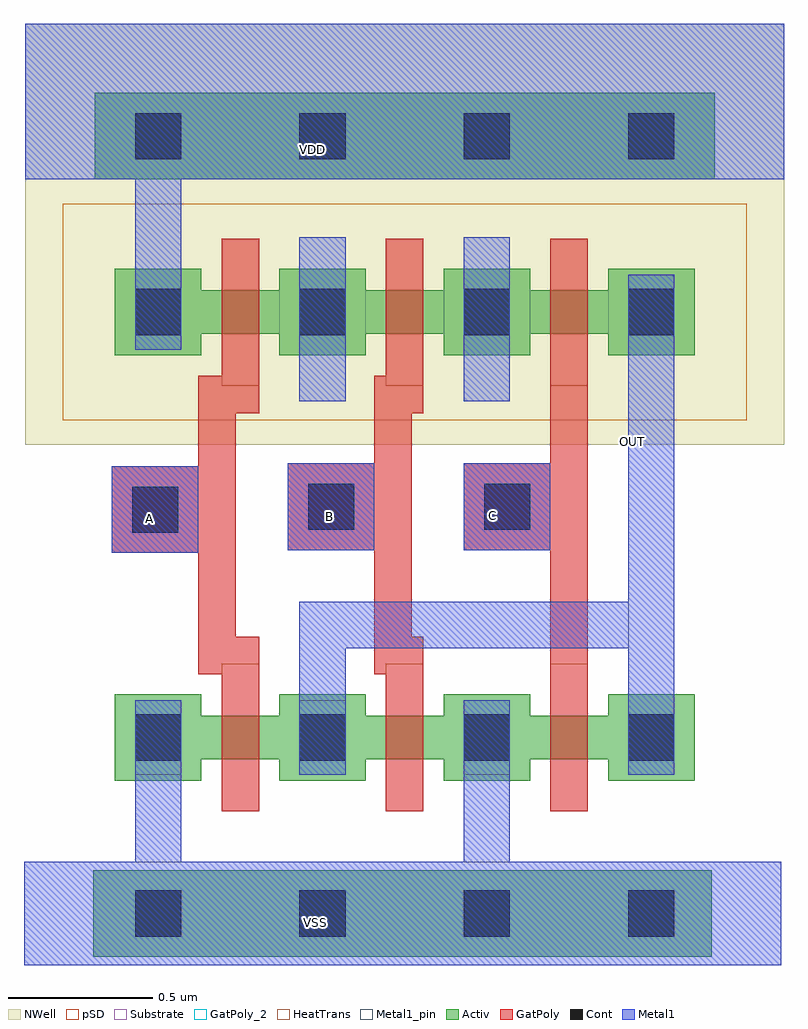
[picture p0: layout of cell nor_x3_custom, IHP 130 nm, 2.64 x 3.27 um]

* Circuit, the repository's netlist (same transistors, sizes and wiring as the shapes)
** sch_path: /foss/designs/PhaseInterpolator/Custom_std_cells/nor_x3_custom.sch
.subckt nor_x3_custom VDD A B C OUT VSS
*.PININFO VDD:B VSS:B B:I C:I OUT:O A:I
M1 OUT A VSS VSS sg13_lv_nmos w=0.15u l=0.13u ng=1 m=1
M2 OUT C net1 VDD sg13_lv_pmos w=0.15u l=0.13u ng=1 m=1
M3 OUT B VSS VSS sg13_lv_nmos w=0.15u l=0.13u ng=1 m=1
M4 net1 B net2 VDD sg13_lv_pmos w=0.15u l=0.13u ng=1 m=1
M5 net2 A VDD VDD sg13_lv_pmos w=0.15u l=0.13u ng=1 m=1
M6 OUT C VSS VSS sg13_lv_nmos w=0.15u l=0.13u ng=1 m=1
.ends

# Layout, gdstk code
from math import pi, radians
import gdstk
lib = gdstk.Library(unit=1e-6, precision=5e-09)
def R(c, l, rs):  # rectangles x0, y0, x1, y1
    for r in rs: c.add(gdstk.rectangle(r[:2], r[2:], *l))
def A(c, l, x, y, w, h, nx, ny, dx, dy):  # array of equal rectangles
    R(c, l, [(x+i*dx, y+j*dy, x+i*dx+w, y+j*dy+h) for i in range(nx) for j in range(ny)])
Activ = (1, 0)
GatPoly = (5, 0)
GatPoly_2 = (5, 2)
Cont = (6, 0)
Metal1 = (8, 0)
Metal1_pin = (8, 2)
pSD = (14, 0)
NWell = (31, 0)
Substrate = (40, 0)
HeatTrans = (51, 0)

pmos = lib.new_cell('pmos')
R(pmos, Activ, [(0,0,0.3,0.3), (0.57,0,0.87,0.3), (0,0.075,0.87,0.225)])
R(pmos, GatPoly, [(0.37,-0.105,0.5,0.405), (0.37,-0.105,0.5,0.405)])
R(pmos, Cont, [(0.07,0.07,0.23,0.23), (0.64,0.07,0.8,0.23)])
R(pmos, Metal1, [(0.07,0.02,0.23,0.28), (0.07,0.02,0.23,0.28), (0.64,0.02,0.8,0.28), (0.64,0.02,0.8,0.28)])
R(pmos, pSD, [(-0.18,-0.225,1.05,0.525)])
R(pmos, NWell, [(-0.31,-0.31,1.18,0.61)])
R(pmos, Substrate, [(0.57,0,0.87,0.3)])
R(pmos, HeatTrans, [(0.37,-0.105,0.5,0.405)])
pmos.add(gdstk.Label('pmos', (0.435,0.15), layer=63, texttype=0))
pmos.add(gdstk.Label('pmos', (0.435,0.15), layer=51, texttype=0))

nmos = lib.new_cell('nmos')
R(nmos, Activ, [(0,0,0.3,0.3), (0.57,0,0.87,0.3), (0,0.075,0.87,0.225)])
R(nmos, GatPoly, [(0.37,-0.105,0.5,0.405)])
R(nmos, GatPoly_2, [(0.37,-0.105,0.5,0.405)])
R(nmos, Cont, [(0.07,0.07,0.23,0.23), (0.64,0.07,0.8,0.23)])
R(nmos, Metal1, [(0.07,0.02,0.23,0.28), (0.64,0.02,0.8,0.28)])
R(nmos, Metal1_pin, [(0.07,0.02,0.23,0.28), (0.64,0.02,0.8,0.28)])
R(nmos, HeatTrans, [(0.37,-0.105,0.5,0.405)])
nmos.add(gdstk.Label('nmos', (0.435,0.15), layer=63, texttype=0))
nmos.add(gdstk.Label('nmos', (0.435,0.15), layer=51, texttype=0))

nor_x3_custom = lib.new_cell('nor_x3_custom')
R(nor_x3_custom, Activ, [(1.225,0.57,3.37,0.87), (1.23,3.265,3.38,3.565)])
R(nor_x3_custom, GatPoly, [(2.81,1.075,2.94,3.06), (1.59,1.55,1.72,2.585), (1.59,1.55,1.8,1.68), (2.2,1.55,2.37,1.68), (2.2,1.55,2.33,2.585), (1.29,1.97,1.59,2.27), (1.9,1.98,2.2,2.28), (2.51,1.98,2.81,2.28), (1.59,2.455,1.8,2.585), (2.2,2.455,2.37,2.585)])
A(nor_x3_custom, Cont, 1.37, 0.64, 0.16, 0.16, 4, 2, 0.57, 2.695)
R(nor_x3_custom, Cont, [(1.36,2.04,1.52,2.2), (1.97,2.05,2.13,2.21), (2.58,2.05,2.74,2.21)])
R(nor_x3_custom, Metal1, [(0.985,0.54,3.61,0.9), (1.37,0.57,1.53,1.46), (2.51,0.57,2.67,1.46), (1.94,1.2,2.1,1.8), (3.08,1.2,3.24,2.935), (1.94,1.64,3.24,1.8), (1.29,1.97,1.59,2.27), (1.9,1.98,2.2,2.28), (2.51,1.98,2.81,2.28), (1.94,2.495,2.1,3.065), (2.51,2.495,2.67,3.065), (1.37,2.675,1.53,3.565), (0.99,3.265,3.62,3.805)])
R(nor_x3_custom, Metal1_pin, [(0.985,0.54,3.61,0.9), (3.08,1.22,3.24,2.935), (1.29,1.97,1.59,2.27), (1.9,1.98,2.2,2.28), (2.51,1.98,2.81,2.28), (0.99,3.265,3.62,3.805)])
R(nor_x3_custom, pSD, [(0.985,0.54,3.61,0.9)])
R(nor_x3_custom, NWell, [(0.99,3.265,3.62,3.805)])
nor_x3_custom.add(gdstk.Reference(pmos, (1.87,2.655)))
nor_x3_custom.add(gdstk.Reference(pmos, (2.44,2.655)))
nor_x3_custom.add(gdstk.Reference(nmos, (2.44,1.18)))
nor_x3_custom.add(gdstk.Reference(nmos, (2.74,1.48), rotation=pi))
nor_x3_custom.add(gdstk.Reference(pmos, (1.3,2.655)))
nor_x3_custom.add(gdstk.Reference(nmos, (1.3,1.18)))
nor_x3_custom.add(gdstk.Label('VSS', (1.995,0.69), layer=8, texttype=25))
nor_x3_custom.add(gdstk.Label('VDD', (1.985,3.37), layer=8, texttype=25))
nor_x3_custom.add(gdstk.Label('A', (1.42,2.09), layer=8, texttype=25))
nor_x3_custom.add(gdstk.Label('B', (2.045,2.095), layer=8, texttype=25))
nor_x3_custom.add(gdstk.Label('C', (2.61,2.1), layer=8, texttype=25))
nor_x3_custom.add(gdstk.Label('OUT', (3.095,2.355), layer=8, texttype=25))

lib.write_gds('nor_x3_custom.gds')
